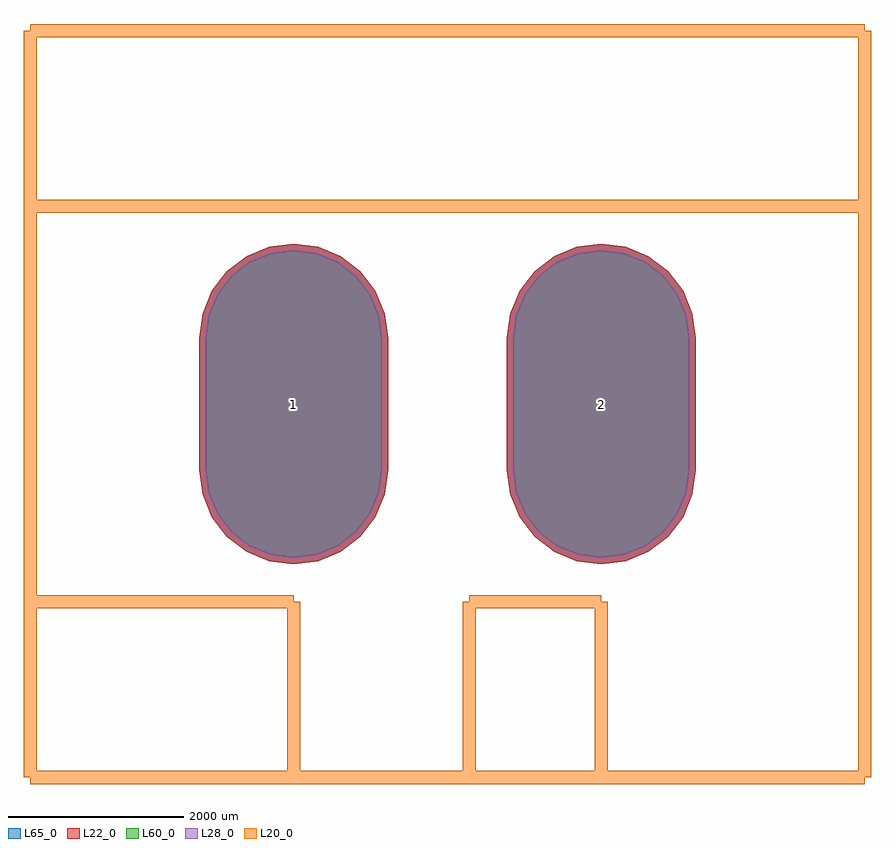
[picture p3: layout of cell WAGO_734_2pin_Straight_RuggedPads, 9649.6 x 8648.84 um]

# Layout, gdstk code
import gdstk
lib = gdstk.Library(unit=1e-6, precision=1e-09)
def P(c, l, *ps):  # polygons
    for p in ps: c.add(gdstk.Polygon(p, *l))
L20_0 = (20, 0)
L22_0 = (22, 0)
L28_0 = (28, 0)
L60_0 = (60, 0)
L65_0 = (65, 0)

wago_734_2pin_straight_r = lib.new_cell('WAGO_734_2pin_Straight_RuggedPads')
P(wago_734_2pin_straight_r, L22_0, [(-1750.06,-1825.06),(-1471.962,-1788.448),(-1212.815,-1681.106),(-990.281,-1510.349),(-819.524,-1287.815),(-712.182,-1028.668),(-675.57,-750.57),(-675.57,750.57),(-712.182,1028.668),(-819.524,1287.815),(-990.281,1510.349),(-1212.815,1681.106),(-1471.962,1788.448),(-1750.06,1825.06),(-2028.158,1788.448),(-2287.305,1681.106),(-2509.839,1510.349),(-2680.596,1287.815),(-2787.938,1028.668),(-2824.55,750.57),(-2824.55,-750.57),(-2787.938,-1028.668),(-2680.596,-1287.815),(-2509.839,-1510.349),(-2287.305,-1681.106),(-2028.158,-1788.448)],
  [(1750.06,-1825.06),(2028.158,-1788.448),(2287.305,-1681.106),(2509.839,-1510.349),(2680.596,-1287.815),(2787.938,-1028.668),(2824.55,-750.57),(2824.55,750.57),(2787.938,1028.668),(2680.596,1287.815),(2509.839,1510.349),(2287.305,1681.106),(2028.158,1788.448),(1750.06,1825.06),(1471.962,1788.448),(1212.815,1681.106),(990.281,1510.349),(819.524,1287.815),(712.182,1028.668),(675.57,750.57),(675.57,-750.57),(712.182,-1028.668),(819.524,-1287.815),(990.281,-1510.349),(1212.815,-1681.106),(1471.962,-1788.448)])
P(wago_734_2pin_straight_r, L28_0, [(-1750.06,-1750.06),(-1491.373,-1716.003),(-1250.315,-1616.154),(-1043.314,-1457.316),(-884.476,-1250.315),(-784.627,-1009.257),(-750.57,-750.57),(-750.57,750.57),(-784.627,1009.257),(-884.476,1250.315),(-1043.314,1457.316),(-1250.315,1616.154),(-1491.373,1716.003),(-1750.06,1750.06),(-2008.747,1716.003),(-2249.805,1616.154),(-2456.806,1457.316),(-2615.644,1250.315),(-2715.493,1009.257),(-2749.55,750.57),(-2749.55,-750.57),(-2715.493,-1009.257),(-2615.644,-1250.315),(-2456.806,-1457.316),(-2249.805,-1616.154),(-2008.747,-1716.003)],
  [(1750.06,-1750.06),(2008.747,-1716.003),(2249.805,-1616.154),(2456.806,-1457.316),(2615.644,-1250.315),(2715.493,-1009.257),(2749.55,-750.57),(2749.55,750.57),(2715.493,1009.257),(2615.644,1250.315),(2456.806,1457.316),(2249.805,1616.154),(2008.747,1716.003),(1750.06,1750.06),(1491.373,1716.003),(1250.315,1616.154),(1043.314,1457.316),(884.476,1250.315),(784.627,1009.257),(750.57,750.57),(750.57,-750.57),(784.627,-1009.257),(884.476,-1250.315),(1043.314,-1457.316),(1250.315,-1616.154),(1491.373,-1716.003)])
P(wago_734_2pin_straight_r, L60_0, [(-1750.06,-1750.06),(-1491.373,-1716.003),(-1250.315,-1616.154),(-1043.314,-1457.316),(-884.476,-1250.315),(-784.627,-1009.257),(-750.57,-750.57),(-750.57,750.57),(-784.627,1009.257),(-884.476,1250.315),(-1043.314,1457.316),(-1250.315,1616.154),(-1491.373,1716.003),(-1750.06,1750.06),(-2008.747,1716.003),(-2249.805,1616.154),(-2456.806,1457.316),(-2615.644,1250.315),(-2715.493,1009.257),(-2749.55,750.57),(-2749.55,-750.57),(-2715.493,-1009.257),(-2615.644,-1250.315),(-2456.806,-1457.316),(-2249.805,-1616.154),(-2008.747,-1716.003)],
  [(1750.06,-1750.06),(2008.747,-1716.003),(2249.805,-1616.154),(2456.806,-1457.316),(2615.644,-1250.315),(2715.493,-1009.257),(2749.55,-750.57),(2749.55,750.57),(2715.493,1009.257),(2615.644,1250.315),(2456.806,1457.316),(2249.805,1616.154),(2008.747,1716.003),(1750.06,1750.06),(1491.373,1716.003),(1250.315,1616.154),(1043.314,1457.316),(884.476,1250.315),(784.627,1009.257),(750.57,750.57),(750.57,-750.57),(784.627,-1009.257),(884.476,-1250.315),(1043.314,-1457.316),(1250.315,-1616.154),(1491.373,-1716.003)])
P(wago_734_2pin_straight_r, L65_0, [(-1750.06,-1825.06),(-1471.962,-1788.448),(-1212.815,-1681.106),(-990.281,-1510.349),(-819.524,-1287.815),(-712.182,-1028.668),(-675.57,-750.57),(-675.57,750.57),(-712.182,1028.668),(-819.524,1287.815),(-990.281,1510.349),(-1212.815,1681.106),(-1471.962,1788.448),(-1750.06,1825.06),(-2028.158,1788.448),(-2287.305,1681.106),(-2509.839,1510.349),(-2680.596,1287.815),(-2787.938,1028.668),(-2824.55,750.57),(-2824.55,-750.57),(-2787.938,-1028.668),(-2680.596,-1287.815),(-2509.839,-1510.349),(-2287.305,-1681.106),(-2028.158,-1788.448)],
  [(1750.06,-1825.06),(2028.158,-1788.448),(2287.305,-1681.106),(2509.839,-1510.349),(2680.596,-1287.815),(2787.938,-1028.668),(2824.55,-750.57),(2824.55,750.57),(2787.938,1028.668),(2680.596,1287.815),(2509.839,1510.349),(2287.305,1681.106),(2028.158,1788.448),(1750.06,1825.06),(1471.962,1788.448),(1212.815,1681.106),(990.281,1510.349),(819.524,1287.815),(712.182,1028.668),(675.57,750.57),(675.57,-750.57),(712.182,-1028.668),(819.524,-1287.815),(990.281,-1510.349),(1212.815,-1681.106),(1471.962,-1788.448)])
wago_734_2pin_straight_r.add(gdstk.FlexPath([(-4749.8,-4249.42),(4749.8,-4249.42)], 149.998, ends="flush", simple_path=True, layer=20, datatype=0))  # L20_0
wago_734_2pin_straight_r.add(gdstk.FlexPath([(-4749.8,4249.42),(-4749.8,-4249.42)], 149.998, ends="flush", simple_path=True, layer=20, datatype=0))  # L20_0
wago_734_2pin_straight_r.add(gdstk.FlexPath([(4749.8,4249.42),(-4749.8,4249.42)], 149.998, ends="flush", simple_path=True, layer=20, datatype=0))  # L20_0
wago_734_2pin_straight_r.add(gdstk.FlexPath([(4749.8,-4249.42),(4749.8,4249.42)], 149.998, ends="flush", simple_path=True, layer=20, datatype=0))  # L20_0
wago_734_2pin_straight_r.add(gdstk.FlexPath([(-1750.06,-2250.44),(-1750.06,-4201.16)], 149.998, ends="flush", simple_path=True, layer=20, datatype=0))  # L20_0
wago_734_2pin_straight_r.add(gdstk.FlexPath([(-4749.8,-2250.44),(-1750.06,-2250.44)], 149.998, ends="flush", simple_path=True, layer=20, datatype=0))  # L20_0
wago_734_2pin_straight_r.add(gdstk.FlexPath([(1750.06,-2250.44),(1750.06,-4249.42)], 149.998, ends="flush", simple_path=True, layer=20, datatype=0))  # L20_0
wago_734_2pin_straight_r.add(gdstk.FlexPath([(248.92,-2250.44),(1750.06,-2250.44)], 149.998, ends="flush", simple_path=True, layer=20, datatype=0))  # L20_0
wago_734_2pin_straight_r.add(gdstk.FlexPath([(248.92,-4249.42),(248.92,-2250.44)], 149.998, ends="flush", simple_path=True, layer=20, datatype=0))  # L20_0
wago_734_2pin_straight_r.add(gdstk.FlexPath([(-4749.8,2250.44),(4749.8,2250.44)], 149.998, ends="flush", simple_path=True, layer=20, datatype=0))  # L20_0
wago_734_2pin_straight_r.add(gdstk.Label('1', (-1750.06,0), layer=28, texttype=0))
wago_734_2pin_straight_r.add(gdstk.Label('2', (1750.06,0), layer=28, texttype=0))
wago_734_2pin_straight_r.add(gdstk.Label('type', (0,-6350), layer=9, texttype=0))
wago_734_2pin_straight_r.add(gdstk.Label('devicename', (0,6350), layer=9, texttype=0))

lib.write_gds('WAGO_734_2pin_Straight_RuggedPads.gds')
